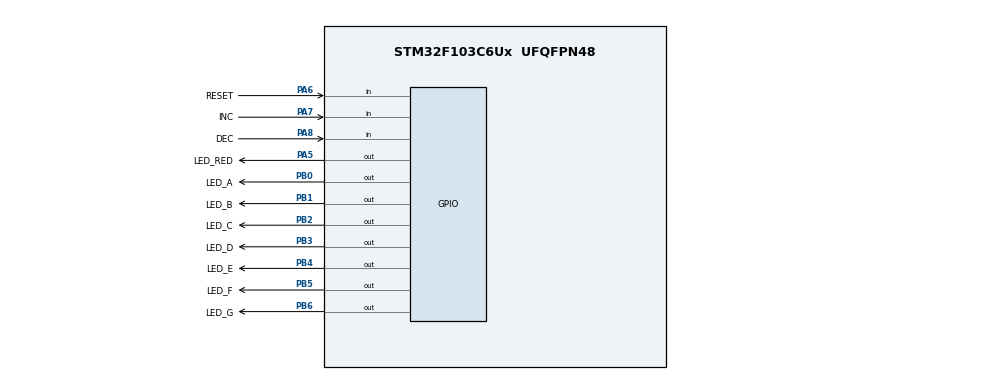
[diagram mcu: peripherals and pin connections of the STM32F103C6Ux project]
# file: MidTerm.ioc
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Mcu.Family=STM32F1
Mcu.Name=STM32F103C6Ux
Mcu.Package=UFQFPN48
NVIC.PriorityGroup=NVIC_PRIORITYGROUP_4
NVIC.TIM2_IRQn=true\:0\:0\:false\:false\:true\:true\:true\:true
PA5.GPIO_Label=LED_RED
PA5.Signal=GPIO_Output
PA6.GPIO_Label=RESET
PA6.GPIO_PuPd=GPIO_PULLUP
PA6.Signal=GPIO_Input
PA7.GPIO_Label=INC
PA7.GPIO_PuPd=GPIO_PULLUP
PA7.Signal=GPIO_Input
PA8.GPIO_Label=DEC
PA8.GPIO_PuPd=GPIO_PULLUP
PA8.Signal=GPIO_Input
PB0.GPIO_Label=LED_A
PB0.Signal=GPIO_Output
PB1.GPIO_Label=LED_B
PB1.Signal=GPIO_Output
PB2.GPIO_Label=LED_C
PB2.Signal=GPIO_Output
PB3.GPIO_Label=LED_D
PB3.Signal=GPIO_Output
PB4.GPIO_Label=LED_E
PB4.Signal=GPIO_Output
PB5.GPIO_Label=LED_F
PB5.Signal=GPIO_Output
PB6.GPIO_Label=LED_G
PB6.Signal=GPIO_Output
ProjectManager.HeapSize=0x200
ProjectManager.StackSize=0x400
ProjectManager.TargetToolchain=STM32CubeIDE
RCC.APB1Freq_Value=8000000
RCC.APB2Freq_Value=8000000
TIM2.Period=9
TIM2.Prescaler=7999
VP_TIM2_VS_ClockSourceINT.Mode=Internal
board=custom

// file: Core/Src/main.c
/* USER CODE BEGIN Header */
/**
  ******************************************************************************
  * @file           : main.c
  * @brief          : Main program body
  ******************************************************************************
  * @attention
  *
  * Copyright (c) 2022 STMicroelectronics.
  * All rights reserved.
  *
  * This software is licensed under terms that can be found in the LICENSE file
  * in the root directory of this software component.
  * If no LICENSE file comes with this software, it is provided AS-IS.
  *
  ******************************************************************************
  */
/* USER CODE END Header */
#include "main.h"

/* USER CODE BEGIN Includes */
#include "globalVar.h"
#include "software_timer.h"
#include "led_7_seg.h"
#include "fsm_midterm.h"
/* USER CODE END Includes */

TIM_HandleTypeDef htim2;

void SystemClock_Config(void);
static void MX_GPIO_Init(void);
static void MX_TIM2_Init(void);

int main(void)
{

  /* MCU Configuration--------------------------------------------------------*/

  /* Reset of all peripherals, Initializes the Flash interface and the Systick. */
  HAL_Init();

  /* Configure the system clock */
  SystemClock_Config();

  /* Initialize all configured peripherals */
  MX_GPIO_Init();
  MX_TIM2_Init();
  /* USER CODE BEGIN 2 */
  HAL_TIM_Base_Start_IT(& htim2);

  SetTimer_0(10);
  SetTimer_1(1000);
  /* USER CODE END 2 */

  /* Infinite loop */
  /* USER CODE BEGIN WHILE */

  while (1)
  {
	  if(FlagTimer_0()){
		  fsm_simple_buttons_run();
		  DisplayNum(number);
		  SetTimer_0(10);
	  }
	  if(FlagTimer_1()){
		  if(Increase_MODE_1){
			  if (number + 1 > 9) {
				  number = 0;
			  }
			  else {
				  number = number + 1;
			  }
		  }
		  else if(Decrease_MODE_1){
			  if (number - 1 < 0) {
				  number = 9;
			  }
			  else {
				  number = number - 1;
			  }
		  }
		  else if(Decrease_MODE_2){
			  if (number - 1 < 0) {
				  number = 0;
			  }
			  else {
				  number = number - 1;
			  }
		  }
		  HAL_GPIO_TogglePin(LED_RED_GPIO_Port, LED_RED_Pin);
		  SetTimer_1(1000);
	  }
    /* USER CODE END WHILE */

  }
}

void SystemClock_Config(void)
{
  RCC_OscInitTypeDef RCC_OscInitStruct = {0};
  RCC_ClkInitTypeDef RCC_ClkInitStruct = {0};

  /** Initializes the RCC Oscillators according to the specified parameters
  * in the RCC_OscInitTypeDef structure.
  */
  RCC_OscInitStruct.OscillatorType = RCC_OSCILLATORTYPE_HSI;
  RCC_OscInitStruct.HSIState = RCC_HSI_ON;
  RCC_OscInitStruct.HSICalibrationValue = RCC_HSICALIBRATION_DEFAULT;
  RCC_OscInitStruct.PLL.PLLState = RCC_PLL_NONE;
  if (HAL_RCC_OscConfig(&RCC_OscInitStruct) != HAL_OK)
  {
    Error_Handler();
  }

  /** Initializes the CPU, AHB and APB buses clocks
  */
  RCC_ClkInitStruct.ClockType = RCC_CLOCKTYPE_HCLK|RCC_CLOCKTYPE_SYSCLK
                              |RCC_CLOCKTYPE_PCLK1|RCC_CLOCKTYPE_PCLK2;
  RCC_ClkInitStruct.SYSCLKSource = RCC_SYSCLKSOURCE_HSI;
  RCC_ClkInitStruct.AHBCLKDivider = RCC_SYSCLK_DIV1;
  RCC_ClkInitStruct.APB1CLKDivider = RCC_HCLK_DIV1;
  RCC_ClkInitStruct.APB2CLKDivider = RCC_HCLK_DIV1;

  if (HAL_RCC_ClockConfig(&RCC_ClkInitStruct, FLASH_LATENCY_0) != HAL_OK)
  {
    Error_Handler();
  }
}

static void MX_TIM2_Init(void)
{

  TIM_ClockConfigTypeDef sClockSourceConfig = {0};
  TIM_MasterConfigTypeDef sMasterConfig = {0};

  htim2.Instance = TIM2;
  htim2.Init.Prescaler = 7999;
  htim2.Init.CounterMode = TIM_COUNTERMODE_UP;
  htim2.Init.Period = 9;
  htim2.Init.ClockDivision = TIM_CLOCKDIVISION_DIV1;
  htim2.Init.AutoReloadPreload = TIM_AUTORELOAD_PRELOAD_DISABLE;
  if (HAL_TIM_Base_Init(&htim2) != HAL_OK)
  {
    Error_Handler();
  }
  sClockSourceConfig.ClockSource = TIM_CLOCKSOURCE_INTERNAL;
  if (HAL_TIM_ConfigClockSource(&htim2, &sClockSourceConfig) != HAL_OK)
  {
    Error_Handler();
  }
  sMasterConfig.MasterOutputTrigger = TIM_TRGO_RESET;
  sMasterConfig.MasterSlaveMode = TIM_MASTERSLAVEMODE_DISABLE;
  if (HAL_TIMEx_MasterConfigSynchronization(&htim2, &sMasterConfig) != HAL_OK)
  {
    Error_Handler();
  }

}

static void MX_GPIO_Init(void)
{
  GPIO_InitTypeDef GPIO_InitStruct = {0};

  /* GPIO Ports Clock Enable */
  __HAL_RCC_GPIOA_CLK_ENABLE();
  __HAL_RCC_GPIOB_CLK_ENABLE();

  /*Configure GPIO pin Output Level */
  HAL_GPIO_WritePin(LED_RED_GPIO_Port, LED_RED_Pin, GPIO_PIN_RESET);

  /*Configure GPIO pin Output Level */
  HAL_GPIO_WritePin(GPIOB, LED_A_Pin|LED_B_Pin|LED_C_Pin|LED_D_Pin
                          |LED_E_Pin|LED_F_Pin|LED_G_Pin, GPIO_PIN_RESET);

  /*Configure GPIO pin : LED_RED_Pin */
  GPIO_InitStruct.Pin = LED_RED_Pin;
  GPIO_InitStruct.Mode = GPIO_MODE_OUTPUT_PP;
  GPIO_InitStruct.Pull = GPIO_NOPULL;
  GPIO_InitStruct.Speed = GPIO_SPEED_FREQ_LOW;
  HAL_GPIO_Init(LED_RED_GPIO_Port, &GPIO_InitStruct);

  /*Configure GPIO pins : RESET_Pin INC_Pin DEC_Pin */
  GPIO_InitStruct.Pin = RESET_Pin|INC_Pin|DEC_Pin;
  GPIO_InitStruct.Mode = GPIO_MODE_INPUT;
  GPIO_InitStruct.Pull = GPIO_PULLUP;
  HAL_GPIO_Init(GPIOA, &GPIO_InitStruct);

  /*Configure GPIO pins : LED_A_Pin LED_B_Pin LED_C_Pin LED_D_Pin
                           LED_E_Pin LED_F_Pin LED_G_Pin */
  GPIO_InitStruct.Pin = LED_A_Pin|LED_B_Pin|LED_C_Pin|LED_D_Pin
                          |LED_E_Pin|LED_F_Pin|LED_G_Pin;
  GPIO_InitStruct.Mode = GPIO_MODE_OUTPUT_PP;
  GPIO_InitStruct.Pull = GPIO_NOPULL;
  GPIO_InitStruct.Speed = GPIO_SPEED_FREQ_LOW;
  HAL_GPIO_Init(GPIOB, &GPIO_InitStruct);

}

void Error_Handler(void)
{
  __disable_irq();
  while (1)
  {
  }
}
